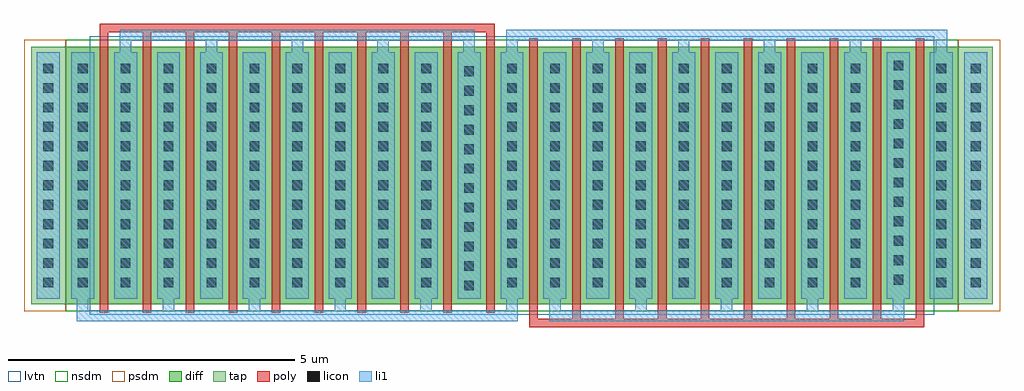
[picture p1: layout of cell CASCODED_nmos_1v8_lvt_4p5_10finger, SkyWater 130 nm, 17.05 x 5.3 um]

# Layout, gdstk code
import gdstk
lib = gdstk.Library(unit=1e-6, precision=1e-09)
def R(c, l, rs):  # rectangles x0, y0, x1, y1
    for r in rs: c.add(gdstk.rectangle(r[:2], r[2:], *l))
def A(c, l, x, y, w, h, nx, ny, dx, dy):  # array of equal rectangles
    R(c, l, [(x+i*dx, y+j*dy, x+i*dx+w, y+j*dy+h) for i in range(nx) for j in range(ny)])
diff = (65, 20)
tap = (65, 44)
poly = (66, 20)
licon = (66, 44)
li1 = (67, 20)
nsdm = (93, 44)
psdm = (94, 20)
lvtn = (125, 44)

nmos_1v8_lvt_4p5_rbody_1 = lib.new_cell('nmos_1v8_lvt_4p5_Rbody_10finger')
R(nmos_1v8_lvt_4p5_rbody_1, diff, [(0.4,0.15,8.5,4.65)])
R(nmos_1v8_lvt_4p5_rbody_1, tap, [(8.5,0.15,9.1,4.65)])
A(nmos_1v8_lvt_4p5_rbody_1, poly, 1, 0, 0.15, 4.9, 10, 1, 0.75, 0)
R(nmos_1v8_lvt_4p5_rbody_1, poly, [(1,4.9,7.9,5.05)])
A(nmos_1v8_lvt_4p5_rbody_1, licon, 7.365, 0.395, 0.17, 0.17, 1, 12, 0, 0.34)
A(nmos_1v8_lvt_4p5_rbody_1, licon, 0.615, 0.445, 0.17, 0.17, 9, 12, 0.75, 0.34)
A(nmos_1v8_lvt_4p5_rbody_1, licon, 8.115, 0.445, 0.17, 0.17, 1, 12, 0, 0.34)
A(nmos_1v8_lvt_4p5_rbody_1, licon, 8.715, 0.445, 0.17, 0.17, 1, 12, 0, 0.34)
A(nmos_1v8_lvt_4p5_rbody_1, li1, 0.6, 0.05, 0.2, 0.2, 6, 1, 1.5, 0)
A(nmos_1v8_lvt_4p5_rbody_1, li1, 0.5, 0.25, 0.4, 4.3, 11, 1, 0.75, 0)
A(nmos_1v8_lvt_4p5_rbody_1, li1, 1.35, 4.55, 0.2, 0.2, 5, 1, 1.5, 0)
R(nmos_1v8_lvt_4p5_rbody_1, li1, [(0.6,-0.15,8.3,0.05), (8.6,0.25,9,4.55), (1.35,4.75,7.55,4.95)])
R(nmos_1v8_lvt_4p5_rbody_1, nsdm, [(0.275,0.025,8.5,4.775)])
R(nmos_1v8_lvt_4p5_rbody_1, psdm, [(8.5,0.025,9.225,4.775)])
R(nmos_1v8_lvt_4p5_rbody_1, lvtn, [(0.82,-0.03,8.08,4.83)])

nmos_1v8_lvt_4p5_lbody_1 = lib.new_cell('nmos_1v8_lvt_4p5_Lbody_10finger')
R(nmos_1v8_lvt_4p5_lbody_1, diff, [(0.4,0.15,8.5,4.65)])
R(nmos_1v8_lvt_4p5_lbody_1, tap, [(-0.2,0.15,0.4,4.65)])
A(nmos_1v8_lvt_4p5_lbody_1, poly, 1, 0, 0.15, 4.9, 10, 1, 0.75, 0)
R(nmos_1v8_lvt_4p5_lbody_1, poly, [(1,4.9,7.9,5.05)])
A(nmos_1v8_lvt_4p5_lbody_1, licon, 7.365, 0.395, 0.17, 0.17, 1, 12, 0, 0.34)
A(nmos_1v8_lvt_4p5_lbody_1, licon, 0.015, 0.445, 0.17, 0.17, 1, 12, 0, 0.34)
A(nmos_1v8_lvt_4p5_lbody_1, licon, 0.615, 0.445, 0.17, 0.17, 9, 12, 0.75, 0.34)
A(nmos_1v8_lvt_4p5_lbody_1, licon, 8.115, 0.445, 0.17, 0.17, 1, 12, 0, 0.34)
A(nmos_1v8_lvt_4p5_lbody_1, li1, 0.6, 0.05, 0.2, 0.2, 6, 1, 1.5, 0)
A(nmos_1v8_lvt_4p5_lbody_1, li1, 0.5, 0.25, 0.4, 4.3, 11, 1, 0.75, 0)
A(nmos_1v8_lvt_4p5_lbody_1, li1, 1.35, 4.55, 0.2, 0.2, 5, 1, 1.5, 0)
R(nmos_1v8_lvt_4p5_lbody_1, li1, [(0.6,-0.15,8.3,0.05), (-0.1,0.25,0.3,4.55), (1.35,4.75,7.55,4.95)])
R(nmos_1v8_lvt_4p5_lbody_1, nsdm, [(0.4,0.025,8.625,4.775)])
R(nmos_1v8_lvt_4p5_lbody_1, psdm, [(-0.325,0.025,0.4,4.775)])
R(nmos_1v8_lvt_4p5_lbody_1, lvtn, [(0.82,-0.03,8.08,4.83)])

cascoded_nmos_1v8_lvt_4p = lib.new_cell('CASCODED_nmos_1v8_lvt_4p5_10finger')
R(cascoded_nmos_1v8_lvt_4p, lvtn, [(-9.54,1.27,-9.3,6.13)])
cascoded_nmos_1v8_lvt_4p.add(gdstk.Reference(nmos_1v8_lvt_4p5_rbody_1, (-10.12,6.1), x_reflection=True))
cascoded_nmos_1v8_lvt_4p.add(gdstk.Reference(nmos_1v8_lvt_4p5_lbody_1, (-17.62,1.3)))

lib.write_gds('CASCODED_nmos_1v8_lvt_4p5_10finger.gds')
